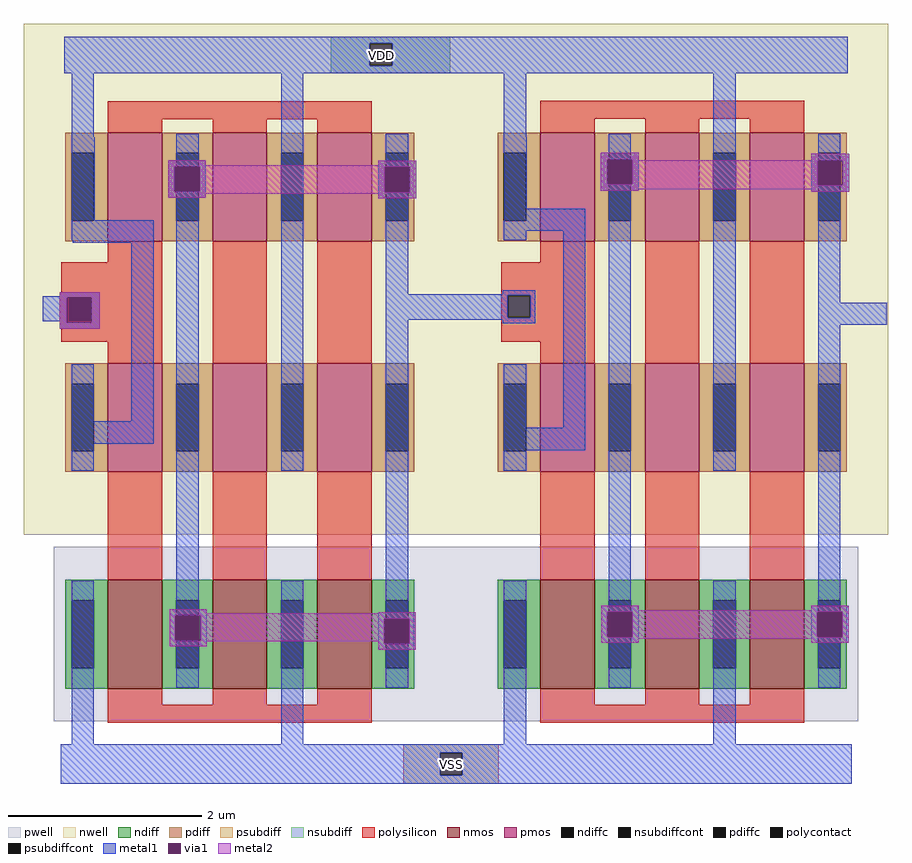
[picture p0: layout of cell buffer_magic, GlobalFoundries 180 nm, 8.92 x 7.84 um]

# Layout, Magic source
magic
tech gf180mcuD
magscale 1 10
<< nwell >>
rect 0 466 1784 579
rect 985 -78 988 86
<< pwell >>
rect 830 -861 954 -501
<< psubdiff >>
rect 783 -926 980 -908
rect 783 -972 859 -926
rect 905 -972 980 -926
rect 783 -989 980 -972
<< nsubdiff >>
rect 634 538 880 552
rect 634 492 714 538
rect 760 492 880 538
rect 634 476 880 492
<< psubdiffcont >>
rect 859 -972 905 -926
<< nsubdiffcont >>
rect 714 492 760 538
<< polysilicon >>
rect 174 381 718 419
rect 1066 382 1610 420
rect 174 86 286 118
rect 78 13 286 86
rect 78 -33 95 13
rect 141 -33 286 13
rect 78 -78 286 -33
rect 174 -96 286 -78
rect 390 -96 502 118
rect 606 -100 718 114
rect 1066 86 1178 107
rect 985 18 1178 86
rect 985 -28 999 18
rect 1045 -28 1178 18
rect 985 -78 1178 -28
rect 1066 -97 1178 -78
rect 1282 -95 1394 109
rect 1498 -91 1610 113
rect 174 -537 286 -370
rect 390 -536 502 -369
rect 606 -534 718 -367
rect 1066 -534 1178 -367
rect 1282 -532 1394 -365
rect 1498 -532 1610 -365
rect 174 -864 718 -827
rect 1066 -864 1610 -827
<< polycontact >>
rect 95 -33 141 13
rect 999 -28 1045 18
<< metal1 >>
rect 84 538 1700 552
rect 84 492 714 538
rect 760 492 1700 538
rect 84 476 1700 492
rect 99 344 145 476
rect 99 173 147 344
rect 315 297 361 352
rect 298 284 376 297
rect 298 232 311 284
rect 363 232 376 284
rect 298 219 376 232
rect 99 132 268 173
rect 101 127 268 132
rect 74 16 157 25
rect 39 14 157 16
rect 39 -35 89 14
rect 74 -38 89 -35
rect 141 -38 157 14
rect 74 -51 157 -38
rect 99 -242 145 -124
rect 222 -242 268 127
rect 99 -288 268 -242
rect 99 -344 145 -288
rect 99 -908 145 -571
rect 315 -629 361 219
rect 531 -344 577 476
rect 747 296 793 352
rect 991 344 1037 476
rect 991 340 1038 344
rect 732 283 810 296
rect 732 231 745 283
rect 797 231 810 283
rect 732 218 810 231
rect 747 20 793 218
rect 992 197 1038 340
rect 1207 312 1253 352
rect 1191 299 1269 312
rect 1191 247 1204 299
rect 1256 247 1269 299
rect 1191 234 1269 247
rect 992 151 1159 197
rect 988 20 1056 29
rect 747 18 1056 20
rect 747 -28 999 18
rect 1045 -28 1056 18
rect 747 -32 1056 -28
rect 301 -642 378 -629
rect 301 -694 313 -642
rect 365 -694 378 -642
rect 301 -706 378 -694
rect 315 -791 361 -706
rect 531 -908 577 -571
rect 747 -636 793 -32
rect 988 -39 1056 -32
rect 991 -255 1037 -124
rect 1113 -255 1159 151
rect 991 -301 1159 -255
rect 991 -344 1037 -301
rect 732 -649 809 -636
rect 732 -701 744 -649
rect 796 -701 809 -649
rect 732 -713 809 -701
rect 747 -791 793 -713
rect 991 -908 1037 -571
rect 1207 -622 1253 234
rect 1423 -344 1469 476
rect 1639 310 1685 352
rect 1625 297 1703 310
rect 1625 245 1638 297
rect 1690 245 1703 297
rect 1625 232 1703 245
rect 1639 3 1685 232
rect 1639 -43 1781 3
rect 1192 -635 1269 -622
rect 1192 -687 1204 -635
rect 1256 -687 1269 -635
rect 1192 -699 1269 -687
rect 1207 -791 1253 -699
rect 1423 -908 1469 -571
rect 1639 -622 1685 -43
rect 1625 -635 1702 -622
rect 1625 -687 1637 -635
rect 1689 -687 1702 -635
rect 1625 -699 1702 -687
rect 1639 -791 1685 -699
rect 77 -926 1708 -908
rect 77 -972 859 -926
rect 905 -972 1708 -926
rect 77 -989 1708 -972
<< via1 >>
rect 311 232 363 284
rect 89 13 141 14
rect 89 -33 95 13
rect 95 -33 141 13
rect 89 -38 141 -33
rect 745 231 797 283
rect 1204 247 1256 299
rect 313 -694 365 -642
rect 744 -701 796 -649
rect 1638 245 1690 297
rect 1204 -687 1256 -635
rect 1637 -687 1689 -635
<< metal2 >>
rect 1191 299 1269 312
rect 298 287 376 297
rect 732 287 810 296
rect 298 284 810 287
rect 298 232 311 284
rect 363 283 810 284
rect 363 232 745 283
rect 298 231 745 232
rect 797 231 810 283
rect 1191 247 1204 299
rect 1256 297 1269 299
rect 1625 297 1703 310
rect 1256 247 1638 297
rect 1191 245 1638 247
rect 1690 245 1703 297
rect 1191 237 1703 245
rect 1191 234 1269 237
rect 1625 232 1703 237
rect 298 228 810 231
rect 298 219 376 228
rect 732 218 810 228
rect 74 14 157 25
rect 74 -38 89 14
rect 141 -38 157 14
rect 74 -51 157 -38
rect 301 -638 378 -629
rect 1192 -632 1269 -622
rect 1625 -632 1702 -622
rect 1192 -635 1702 -632
rect 732 -638 809 -636
rect 301 -642 809 -638
rect 301 -694 313 -642
rect 365 -649 809 -642
rect 365 -694 744 -649
rect 301 -696 744 -694
rect 301 -706 378 -696
rect 732 -701 744 -696
rect 796 -701 809 -649
rect 1192 -687 1204 -635
rect 1256 -687 1637 -635
rect 1689 -687 1702 -635
rect 1192 -690 1702 -687
rect 1192 -699 1269 -690
rect 1625 -699 1702 -690
rect 732 -713 809 -701
use nmos_3p3_G2UGVV  nmos_3p3_G2UGVV_0
transform 1 0 1338 0 1 -681
box -384 -180 384 180
use nmos_3p3_G2UGVV  nmos_3p3_G2UGVV_1
transform 1 0 446 0 1 -681
box -384 -180 384 180
use pmos_3p3_VRY6F7  pmos_3p3_VRY6F7_0
transform 1 0 446 0 1 -234
box -446 -242 446 242
use pmos_3p3_VRY6F7  pmos_3p3_VRY6F7_1
transform 1 0 1338 0 1 -234
box -446 -242 446 242
use pmos_3p3_VRY6F7  pmos_3p3_VRY6F7_2
transform 1 0 446 0 1 242
box -446 -242 446 242
use pmos_3p3_VRY6F7  pmos_3p3_VRY6F7_3
transform 1 0 1338 0 1 242
box -446 -242 446 242
<< labels >>
flabel nsubdiffcont 739 513 739 513 0 FreeSans 750 0 0 0 VDD
flabel psubdiffcont 882 -950 882 -950 0 FreeSans 750 0 0 0 VSS
<< end >>

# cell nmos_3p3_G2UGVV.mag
magic
tech gf180mcuD
magscale 1 10
<< pwell >>
rect -384 -180 384 180
<< nmos >>
rect -272 -112 -160 112
rect -56 -112 56 112
rect 160 -112 272 112
<< ndiff >>
rect -360 70 -272 112
rect -360 -70 -347 70
rect -301 -70 -272 70
rect -360 -112 -272 -70
rect -160 70 -56 112
rect -160 -70 -131 70
rect -85 -70 -56 70
rect -160 -112 -56 -70
rect 56 70 160 112
rect 56 -70 85 70
rect 131 -70 160 70
rect 56 -112 160 -70
rect 272 70 360 112
rect 272 -70 301 70
rect 347 -70 360 70
rect 272 -112 360 -70
<< ndiffc >>
rect -347 -70 -301 70
rect -131 -70 -85 70
rect 85 -70 131 70
rect 301 -70 347 70
<< polysilicon >>
rect -272 112 -160 156
rect -56 112 56 156
rect 160 112 272 156
rect -272 -156 -160 -112
rect -56 -156 56 -112
rect 160 -156 272 -112
<< metal1 >>
rect -347 70 -301 110
rect -347 -110 -301 -70
rect -131 70 -85 110
rect -131 -110 -85 -70
rect 85 70 131 110
rect 85 -110 131 -70
rect 301 70 347 110
rect 301 -110 347 -70
<< end >>

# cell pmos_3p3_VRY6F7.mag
magic
tech gf180mcuD
magscale 1 10
<< nwell >>
rect -446 -242 446 242
<< pmos >>
rect -272 -112 -160 112
rect -56 -112 56 112
rect 160 -112 272 112
<< pdiff >>
rect -360 70 -272 112
rect -360 -70 -347 70
rect -301 -70 -272 70
rect -360 -112 -272 -70
rect -160 70 -56 112
rect -160 -70 -131 70
rect -85 -70 -56 70
rect -160 -112 -56 -70
rect 56 70 160 112
rect 56 -70 85 70
rect 131 -70 160 70
rect 56 -112 160 -70
rect 272 70 360 112
rect 272 -70 301 70
rect 347 -70 360 70
rect 272 -112 360 -70
<< pdiffc >>
rect -347 -70 -301 70
rect -131 -70 -85 70
rect 85 -70 131 70
rect 301 -70 347 70
<< polysilicon >>
rect -272 112 -160 156
rect -56 112 56 156
rect 160 112 272 156
rect -272 -156 -160 -112
rect -56 -156 56 -112
rect 160 -156 272 -112
<< metal1 >>
rect -347 70 -301 110
rect -347 -110 -301 -70
rect -131 70 -85 110
rect -131 -110 -85 -70
rect 85 70 131 110
rect 85 -110 131 -70
rect 301 70 347 110
rect 301 -110 347 -70
<< end >>
